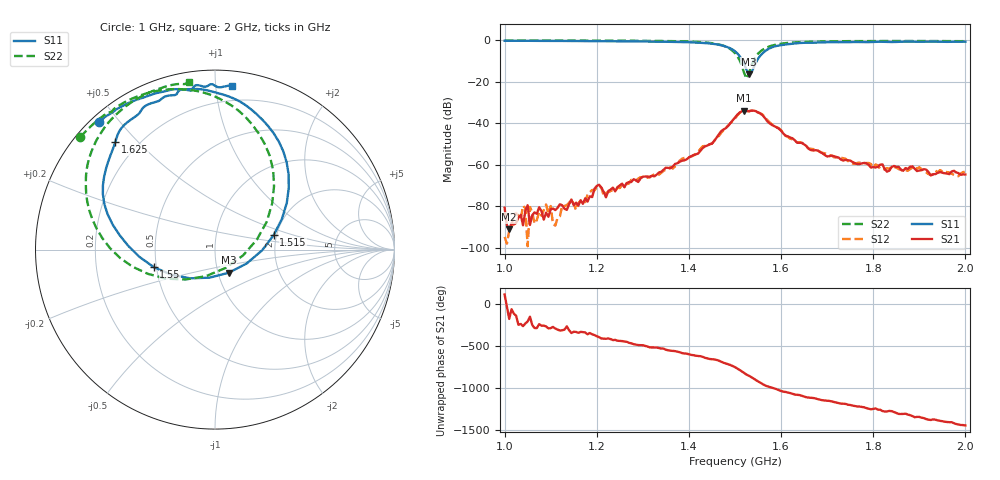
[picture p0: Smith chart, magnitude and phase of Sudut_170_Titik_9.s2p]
# Hz S RI R 50
! CMT, C1220, 16058040, 17.2.0/1
! Date: 14/08/2018 11:56:44
! Data: Format (Calibration Info)
! Freq  S11: Re/Im (F2)  S21: Re/Im (F2)  S12: Re/Im (F2)  S22: Re/Im (F2)
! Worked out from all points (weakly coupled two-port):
!   201 points, 1 GHz to 2 GHz, reference 50 ohm
!   highest |S21| = -33.95 dB at 1.52 GHz (marker M1); lowest = -91.1 dB at 1.01 GHz (marker M2)
!   lowest |S11| = -16.5 dB at 1.53 GHz (marker M3), VSWR 1.35, Z = 56.3 - j14.8 ohm
!   |S11| at or under -10 dB: 1.516 GHz to 1.548 GHz (31.24 MHz wide, 2.04 % of centre)
!   |S22| runs from -18.6 to -0.2 dB; largest |S21 - S12| = 0.00083
!   S11 on the Smith chart (normalised r, x): 1 GHz: 0.02, +0.44; 1.515 GHz: 1.93, +0.35; 1.55 GHz: 0.48, -0.11; 1.625 GHz: 0.12, +0.43; 2 GHz: 0.10, +1.10
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1e9  -0.6443 0.7117  -2.92e-05 8.69e-05  8.52e-06 -1.61e-05  -0.7498 0.6271
1.01e9  -0.6314 0.7213  -2.78e-05 4.64e-07  8.36e-06 -2.44e-05  -0.7427 0.635
1.135e9  -0.5055 0.8043  -2.26e-06 8.12e-05  7.71e-05 7.29e-05  -0.6464 0.7273
1.145e9  -0.4972 0.809  0.000142 3.06e-05  0.000139 3.43e-05  -0.6371 0.7341
1.155e9  -0.49 0.813  0.00011 5.09e-05  6.86e-05 4.3e-05  -0.6275 0.7417
1.17e9  -0.472 0.8211  0.000105 4.35e-05  0.000142 3.36e-05  -0.612 0.7524
1.205e9  -0.4255 0.8382  0.000263 -0.000197  0.000246 -0.000167  -0.5757 0.7665
1.22e9  -0.4097 0.8435  9.03e-05 -0.000136  8.91e-05 -0.000189  -0.567 0.7792
1.235e9  -0.3821 0.8531  8.66e-05 -0.000266  0.000103 -0.000225  -0.5503 0.7933
1.335e9  -0.2146 0.8938  -0.000632 -0.000148  -0.000574 -5.13e-05  -0.3955 0.8661
1.45e9  0.1807 0.7973  0.00155 0.0028  0.00176 0.0027  0.0275 0.8397
1.5e9  0.411 0.3438  0.0115 -0.0074  0.0108 -0.00703  0.3289 0.3522
1.515e9  0.3273 0.0811  0.0016 -0.0192  0.00208 -0.0193  0.233 0.0552
1.52e9  0.2622 -0.00441  -0.00484 -0.0195  -0.00464 -0.0197  0.1559 -0.0328
1.53e9  0.0775 -0.1284  -0.0137 -0.0135  -0.0138 -0.0136  -0.0505 -0.1481
1.55e9  -0.3406 -0.0979  -0.0167 0.00685  -0.0169 0.00622  -0.4589 -0.0955
1.58e9  -0.6166 0.2545  0.000912 0.00899  0.00129 0.00929  -0.7007 0.2188
1.625e9  -0.5552 0.5995  0.00424 0.000784  0.00397 0.000844  -0.6965 0.5225
1.67e9  -0.4413 0.743  0.00169 -0.0014  0.00181 -0.00152  -0.6197 0.6739
1.835e9  -0.1445 0.8868  -0.000702 0.000162  -0.000748 0.000245  -0.3697 0.8735
1.885e9  -0.082 0.9134  -0.000252 0.000876  -0.000387 0.000758  -0.299 0.9012
2e9  0.094 0.9118  0.000576 -5.4e-05  0.000675 -5.37e-05  -0.1462 0.9311
